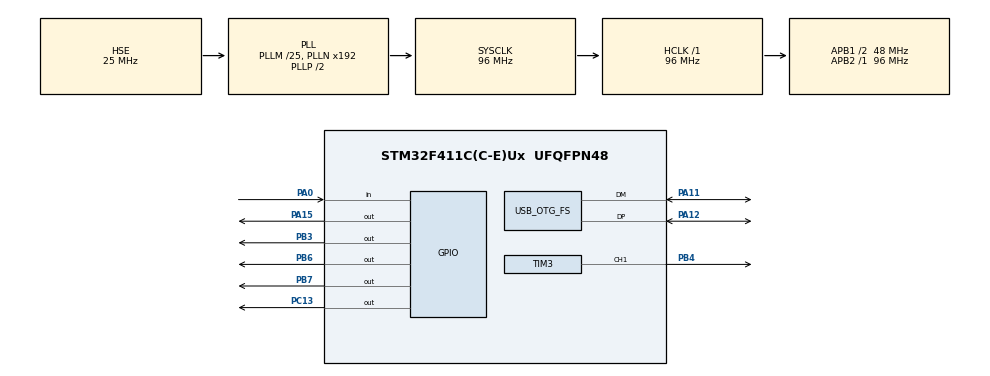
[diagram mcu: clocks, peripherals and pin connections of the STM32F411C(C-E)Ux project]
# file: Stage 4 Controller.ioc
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Mcu.Family=STM32F4
Mcu.Name=STM32F411C(C-E)Ux
Mcu.Package=UFQFPN48
NVIC.OTG_FS_IRQn=true\:0\:0\:false\:false\:true\:false\:true\:true
NVIC.PriorityGroup=NVIC_PRIORITYGROUP_4
NVIC.TIM2_IRQn=true\:0\:0\:false\:false\:true\:true\:true\:true
NVIC.TIM3_IRQn=true\:0\:0\:false\:false\:true\:true\:true\:true
PA0-WKUP.GPIO_PuPd=GPIO_PULLUP
PA0-WKUP.Signal=GPIO_Input
PA11.Mode=Device_Only
PA11.Signal=USB_OTG_FS_DM
PA12.Mode=Device_Only
PA12.Signal=USB_OTG_FS_DP
PA13.Mode=Serial_Wire
PA13.Signal=SYS_JTMS-SWDIO
PA14.Mode=Serial_Wire
PA14.Signal=SYS_JTCK-SWCLK
PA15.Signal=GPIO_Output
PB3.Signal=GPIO_Output
PB4.Signal=S_TIM3_CH1
PB6.Signal=GPIO_Output
PB7.Signal=GPIO_Output
PC13-ANTI_TAMP.Signal=GPIO_Output
PH0\ -\ OSC_IN.Mode=HSE-External-Oscillator
PH0\ -\ OSC_IN.Signal=RCC_OSC_IN
PH1\ -\ OSC_OUT.Mode=HSE-External-Oscillator
PH1\ -\ OSC_OUT.Signal=RCC_OSC_OUT
ProjectManager.HeapSize=0x600
ProjectManager.StackSize=0x400
ProjectManager.TargetToolchain=STM32CubeIDE
RCC.48MHZClocksFreq_Value=48000000
RCC.AHBFreq_Value=96000000
RCC.APB1CLKDivider=RCC_HCLK_DIV2
RCC.APB1Freq_Value=48000000
RCC.APB1TimFreq_Value=96000000
RCC.APB2Freq_Value=96000000
RCC.APB2TimFreq_Value=96000000
RCC.CortexFreq_Value=96000000
RCC.HCLKFreq_Value=96000000
RCC.HSE_VALUE=25000000
RCC.HSI_VALUE=16000000
RCC.LSE_VALUE=32768
RCC.PLLM=25
RCC.SYSCLKFreq_VALUE=96000000
RCC.SYSCLKSource=RCC_SYSCLKSOURCE_PLLCLK
RCC.VCOOutputFreq_Value=192000000
SH.S_TIM3_CH1.0=TIM3_CH1,PWM Generation1 CH1
TIM2.Period=1000-1
TIM2.Prescaler=96-1
TIM3.AutoReloadPreload=TIM_AUTORELOAD_PRELOAD_ENABLE
TIM3.Channel-PWM\ Generation1\ CH1=TIM_CHANNEL_1
TIM3.OC1Preload_PWM=ENABLE
TIM3.Period=10000-1
TIM3.Prescaler=120-1
TIM3.Pulse-PWM\ Generation1\ CH1=5000
USB_DEVICE.CLASS_NAME_FS=CDC
USB_DEVICE.VirtualMode=Cdc
USB_DEVICE.VirtualModeFS=Cdc_FS
USB_OTG_FS.VirtualMode=Device_Only
VP_TIM2_VS_ClockSourceINT.Mode=Internal
VP_TIM3_VS_ClockSourceINT.Mode=Internal
VP_USB_DEVICE_VS_USB_DEVICE_CDC_FS.Mode=CDC_FS
board=custom

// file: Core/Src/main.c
/* USER CODE BEGIN Header */
/**
  ******************************************************************************
  * @file           : main.c
  * @brief          : Main program body
  ******************************************************************************
  * @attention
  *
  * Copyright (c) 2026 STMicroelectronics.
  * All rights reserved.
  *
  * This software is licensed under terms that can be found in the LICENSE file
  * in the root directory of this software component.
  * If no LICENSE file comes with this software, it is provided AS-IS.
  *
  ******************************************************************************
  */
/* USER CODE END Header */
#include "main.h"
#include "usb_device.h"

/* USER CODE BEGIN Includes */
#include "usbd_cdc_if.h"
/* USER CODE END Includes */

TIM_HandleTypeDef htim2;
TIM_HandleTypeDef htim3;

/* USER CODE BEGIN PV */
uint8_t RxBuffer[16];
uint8_t connectionEstablished = 0;
uint8_t messageSent = 0;
uint8_t connectionHandshake[] = {'l','m','a','o'};
uint8_t buttonPress[] = {'b','u','t','t','\n'};
uint8_t buttonUnPress[] = {'a','s','s','\n'};
uint32_t timerValue = 0;
uint8_t gayToggle = 0;
uint8_t homsexualToggle = 0;
uint8_t stepInProgress = 0;
uint16_t speedRegister = 0;
uint16_t stepCounter = 0;
uint16_t stepTarget = 0;
/* USER CODE END PV */

void SystemClock_Config(void);
static void MX_GPIO_Init(void);
static void MX_TIM3_Init(void);
static void MX_TIM2_Init(void);

int main(void)
{

  /* MCU Configuration--------------------------------------------------------*/

  /* Reset of all peripherals, Initializes the Flash interface and the Systick. */
  HAL_Init();

  /* Configure the system clock */
  SystemClock_Config();

  /* Initialize all configured peripherals */
  MX_GPIO_Init();
  MX_USB_DEVICE_Init();
  MX_TIM3_Init();
  MX_TIM2_Init();
  /* USER CODE BEGIN 2 */
  //HAL_TIM_PWM_Start(&htim3,TIM_CHANNEL_1);
  HAL_TIM_Base_Start_IT(&htim2);
  HAL_GPIO_WritePin(GPIOB, GPIO_PIN_7,0);			//enable stepper, lock that boi in place

  /* USER CODE END 2 */

  /* Infinite loop */
  /* USER CODE BEGIN WHILE */
  while (1)
  {
	  //timerValue = __HAL_TIM_GET_COUNTER(&htim2);
	  if ((HAL_GPIO_ReadPin(GPIOA, GPIO_PIN_0) == 0) && connectionEstablished == 1 )
	  {
		  //HAL_GPIO_TogglePin(GPIOC, GPIO_PIN_13);		//toggle LED
		  //CDC_Transmit_FS(&buttonPress, 5);
		  // wait a third of a second, Kevin Visser-Weckworths Perfect time interval
	  }
	  else if ((HAL_GPIO_ReadPin(GPIOA, GPIO_PIN_0) == 1) && connectionEstablished == 1 )
	  {
		 //CDC_Transmit_FS(&buttonUnPress, 4);
		 //HAL_GPIO_WritePin(GPIOC, GPIO_PIN_13, 1);
	  }

//########################################################################################################################

	  if ((RxBuffer[0] == 97) && (RxBuffer[1] == 97) && (RxBuffer[2] == 97))				//aaa
	  {
		  //HAL_GPIO_TogglePin(GPIOC, GPIO_PIN_13);		//toggle LED
		  HAL_GPIO_WritePin(GPIOB, GPIO_PIN_3,1);
		  HAL_GPIO_WritePin(GPIOA, GPIO_PIN_15,0);									//compress sack
	  }

	  if ((RxBuffer[0] == 97) && (RxBuffer[1] == 97) && (RxBuffer[2] == 98))		//aab
	  {
		  //HAL_GPIO_WritePin(GPIOB, GPIO_PIN_6,0);	//Direction change
		  HAL_GPIO_WritePin(GPIOB, GPIO_PIN_3,0);
		  HAL_GPIO_WritePin(GPIOA, GPIO_PIN_15,1);									//expand sack
	  }

	  if ((RxBuffer[0] == 97) && (RxBuffer[1] == 97) && (RxBuffer[2] == 99))		//aac
	  {
		  if (stepInProgress == 0)
		  {
			  stepTarget = 24000;						//3 revoluations at 8000 steps per revolution
			  RxBuffer[0]= 0;
			  RxBuffer[1]= 0;
			  RxBuffer[2]= 0;
			  RxBuffer[3]= 0;
			  RxBuffer[4]= 0;
			  HAL_GPIO_WritePin(GPIOB, GPIO_PIN_6,1);	 //Direction change
			  HAL_TIM_Base_Start_IT(&htim3);
			  HAL_TIM_PWM_Start_IT(&htim3,TIM_CHANNEL_1);
			  stepInProgress = 1;
		  }
	  }

	  if ((RxBuffer[0] == 97) && (RxBuffer[1] == 97) && (RxBuffer[2] == 100))		//aad
	  {
		  if (stepInProgress == 0)
		  {
			  stepTarget = 24000;						//3 revoluations at 8000 steps per revolution
			  RxBuffer[0]= 0;
			  RxBuffer[1]= 0;
			  RxBuffer[2]= 0;
			  RxBuffer[3]= 0;
			  RxBuffer[4]= 0;
			  HAL_GPIO_WritePin(GPIOB, GPIO_PIN_6,0);	 //Direction change
			  HAL_TIM_Base_Start_IT(&htim3);
			  HAL_TIM_PWM_Start_IT(&htim3,TIM_CHANNEL_1);
			  stepInProgress = 1;
		  }
	  }

	  if ((RxBuffer[0] == 97) && (RxBuffer[1] == 97) && (RxBuffer[2] == 101))		//aae
	  {
		  HAL_GPIO_WritePin(GPIOB, GPIO_PIN_6,1);	 //Direction change
	  }

	  if ((RxBuffer[0] == 97) && (RxBuffer[1] == 97) && (RxBuffer[2] == 102))		//aae
	  {
		  HAL_GPIO_WritePin(GPIOB, GPIO_PIN_6,0);	 //Direction change
	  }

//#########################################################################################################################

	  if ((RxBuffer[0] == 97) && (RxBuffer[1] == 121) && (RxBuffer[2] == 121))			//ayy lmao
	  {
		  CDC_Transmit_FS(&connectionHandshake, 5);
		  connectionEstablished = 1;
	  }

	  if (RxBuffer[0] == 98)			//b lmao
	  {
		  speedRegister = ((uint16_t)RxBuffer[1] << 8) | RxBuffer[2];
		  __HAL_TIM_SET_AUTORELOAD(&htim3,speedRegister);
		  __HAL_TIM_SET_COMPARE(&htim3,TIM_CHANNEL_1,speedRegister/2);
	  }

	  if (RxBuffer[0] == 99)			//c lmao
	  {
		  if (stepInProgress == 0)
		  {
			  stepTarget = ((uint16_t)RxBuffer[1] << 8) | RxBuffer[2];
			  RxBuffer[0]= 0;
			  RxBuffer[1]= 0;
			  RxBuffer[2]= 0;
			  RxBuffer[3]= 0;
			  RxBuffer[4]= 0;
			  HAL_TIM_Base_Start_IT(&htim3);
			  HAL_TIM_PWM_Start_IT(&htim3,TIM_CHANNEL_1);
			  stepInProgress = 1;
		  }
	  }

	 /* if ((timerValue >=500000) && (connectionEstablished == 1))
	  {
		  //CDC_Transmit_FS(&timerValue, sizeof(timerValue));
		  HAL_GPIO_WritePin(GPIOC, GPIO_PIN_13, 0);
	  }
	  else if ((timerValue <500000) && (connectionEstablished == 1))
	  {
		  HAL_GPIO_WritePin(GPIOC, GPIO_PIN_13, 1);
	  }*/
    /* USER CODE END WHILE */

  }
}

void SystemClock_Config(void)
{
  RCC_OscInitTypeDef RCC_OscInitStruct = {0};
  RCC_ClkInitTypeDef RCC_ClkInitStruct = {0};

  /** Configure the main internal regulator output voltage
  */
  __HAL_RCC_PWR_CLK_ENABLE();
  __HAL_PWR_VOLTAGESCALING_CONFIG(PWR_REGULATOR_VOLTAGE_SCALE1);

  /** Initializes the RCC Oscillators according to the specified parameters
  * in the RCC_OscInitTypeDef structure.
  */
  RCC_OscInitStruct.OscillatorType = RCC_OSCILLATORTYPE_HSE;
  RCC_OscInitStruct.HSEState = RCC_HSE_ON;
  RCC_OscInitStruct.PLL.PLLState = RCC_PLL_ON;
  RCC_OscInitStruct.PLL.PLLSource = RCC_PLLSOURCE_HSE;
  RCC_OscInitStruct.PLL.PLLM = 25;
  RCC_OscInitStruct.PLL.PLLN = 192;
  RCC_OscInitStruct.PLL.PLLP = RCC_PLLP_DIV2;
  RCC_OscInitStruct.PLL.PLLQ = 4;
  if (HAL_RCC_OscConfig(&RCC_OscInitStruct) != HAL_OK)
  {
    Error_Handler();
  }

  /** Initializes the CPU, AHB and APB buses clocks
  */
  RCC_ClkInitStruct.ClockType = RCC_CLOCKTYPE_HCLK|RCC_CLOCKTYPE_SYSCLK
                              |RCC_CLOCKTYPE_PCLK1|RCC_CLOCKTYPE_PCLK2;
  RCC_ClkInitStruct.SYSCLKSource = RCC_SYSCLKSOURCE_PLLCLK;
  RCC_ClkInitStruct.AHBCLKDivider = RCC_SYSCLK_DIV1;
  RCC_ClkInitStruct.APB1CLKDivider = RCC_HCLK_DIV2;
  RCC_ClkInitStruct.APB2CLKDivider = RCC_HCLK_DIV1;

  if (HAL_RCC_ClockConfig(&RCC_ClkInitStruct, FLASH_LATENCY_3) != HAL_OK)
  {
    Error_Handler();
  }
}

static void MX_TIM2_Init(void)
{

  TIM_ClockConfigTypeDef sClockSourceConfig = {0};
  TIM_MasterConfigTypeDef sMasterConfig = {0};

  htim2.Instance = TIM2;
  htim2.Init.Prescaler = 96-1;
  htim2.Init.CounterMode = TIM_COUNTERMODE_UP;
  htim2.Init.Period = 1000-1;
  htim2.Init.ClockDivision = TIM_CLOCKDIVISION_DIV1;
  htim2.Init.AutoReloadPreload = TIM_AUTORELOAD_PRELOAD_DISABLE;
  if (HAL_TIM_Base_Init(&htim2) != HAL_OK)
  {
    Error_Handler();
  }
  sClockSourceConfig.ClockSource = TIM_CLOCKSOURCE_INTERNAL;
  if (HAL_TIM_ConfigClockSource(&htim2, &sClockSourceConfig) != HAL_OK)
  {
    Error_Handler();
  }
  sMasterConfig.MasterOutputTrigger = TIM_TRGO_RESET;
  sMasterConfig.MasterSlaveMode = TIM_MASTERSLAVEMODE_DISABLE;
  if (HAL_TIMEx_MasterConfigSynchronization(&htim2, &sMasterConfig) != HAL_OK)
  {
    Error_Handler();
  }

}

static void MX_TIM3_Init(void)
{

  TIM_ClockConfigTypeDef sClockSourceConfig = {0};
  TIM_MasterConfigTypeDef sMasterConfig = {0};
  TIM_OC_InitTypeDef sConfigOC = {0};

  htim3.Instance = TIM3;
  htim3.Init.Prescaler = 120-1;
  htim3.Init.CounterMode = TIM_COUNTERMODE_UP;
  htim3.Init.Period = 10000-1;
  htim3.Init.ClockDivision = TIM_CLOCKDIVISION_DIV1;
  htim3.Init.AutoReloadPreload = TIM_AUTORELOAD_PRELOAD_ENABLE;
  if (HAL_TIM_Base_Init(&htim3) != HAL_OK)
  {
    Error_Handler();
  }
  sClockSourceConfig.ClockSource = TIM_CLOCKSOURCE_INTERNAL;
  if (HAL_TIM_ConfigClockSource(&htim3, &sClockSourceConfig) != HAL_OK)
  {
    Error_Handler();
  }
  if (HAL_TIM_PWM_Init(&htim3) != HAL_OK)
  {
    Error_Handler();
  }
  sMasterConfig.MasterOutputTrigger = TIM_TRGO_RESET;
  sMasterConfig.MasterSlaveMode = TIM_MASTERSLAVEMODE_DISABLE;
  if (HAL_TIMEx_MasterConfigSynchronization(&htim3, &sMasterConfig) != HAL_OK)
  {
    Error_Handler();
  }
  sConfigOC.OCMode = TIM_OCMODE_PWM1;
  sConfigOC.Pulse = 5000;
  sConfigOC.OCPolarity = TIM_OCPOLARITY_HIGH;
  sConfigOC.OCFastMode = TIM_OCFAST_DISABLE;
  if (HAL_TIM_PWM_ConfigChannel(&htim3, &sConfigOC, TIM_CHANNEL_1) != HAL_OK)
  {
    Error_Handler();
  }
  HAL_TIM_MspPostInit(&htim3);

}

static void MX_GPIO_Init(void)
{
  GPIO_InitTypeDef GPIO_InitStruct = {0};

  /* GPIO Ports Clock Enable */
  __HAL_RCC_GPIOC_CLK_ENABLE();
  __HAL_RCC_GPIOH_CLK_ENABLE();
  __HAL_RCC_GPIOA_CLK_ENABLE();
  __HAL_RCC_GPIOB_CLK_ENABLE();

  /*Configure GPIO pin Output Level */
  HAL_GPIO_WritePin(GPIOC, GPIO_PIN_13, GPIO_PIN_RESET);

  /*Configure GPIO pin Output Level */
  HAL_GPIO_WritePin(GPIOA, GPIO_PIN_15, GPIO_PIN_RESET);

  /*Configure GPIO pin Output Level */
  HAL_GPIO_WritePin(GPIOB, GPIO_PIN_3|GPIO_PIN_6|GPIO_PIN_7, GPIO_PIN_RESET);

  /*Configure GPIO pin : PC13 */
  GPIO_InitStruct.Pin = GPIO_PIN_13;
  GPIO_InitStruct.Mode = GPIO_MODE_OUTPUT_PP;
  GPIO_InitStruct.Pull = GPIO_NOPULL;
  GPIO_InitStruct.Speed = GPIO_SPEED_FREQ_LOW;
  HAL_GPIO_Init(GPIOC, &GPIO_InitStruct);

  /*Configure GPIO pin : PA0 */
  GPIO_InitStruct.Pin = GPIO_PIN_0;
  GPIO_InitStruct.Mode = GPIO_MODE_INPUT;
  GPIO_InitStruct.Pull = GPIO_PULLUP;
  HAL_GPIO_Init(GPIOA, &GPIO_InitStruct);

  /*Configure GPIO pin : PA15 */
  GPIO_InitStruct.Pin = GPIO_PIN_15;
  GPIO_InitStruct.Mode = GPIO_MODE_OUTPUT_PP;
  GPIO_InitStruct.Pull = GPIO_NOPULL;
  GPIO_InitStruct.Speed = GPIO_SPEED_FREQ_LOW;
  HAL_GPIO_Init(GPIOA, &GPIO_InitStruct);

  /*Configure GPIO pins : PB3 PB6 PB7 */
  GPIO_InitStruct.Pin = GPIO_PIN_3|GPIO_PIN_6|GPIO_PIN_7;
  GPIO_InitStruct.Mode = GPIO_MODE_OUTPUT_PP;
  GPIO_InitStruct.Pull = GPIO_NOPULL;
  GPIO_InitStruct.Speed = GPIO_SPEED_FREQ_LOW;
  HAL_GPIO_Init(GPIOB, &GPIO_InitStruct);

}

/* USER CODE BEGIN 4 */
//##################################################################################################################
void USB_RXCallBack(uint8_t* Buf, uint32_t* Len)
{
	memcpy(RxBuffer, Buf, *Len);
}

void HAL_TIM_PeriodElapsedCallback(TIM_HandleTypeDef *htim)
{

	/*if (htim == &htim2)
	{
		if (gayToggle == 0)
		{
			__HAL_TIM_SET_AUTORELOAD(&htim3, 2000-1);
			gayToggle = 1;
		}
		else
		{
			__HAL_TIM_SET_AUTORELOAD(&htim3, 1000-1);
			gayToggle = 0;
		}
		//HAL_GPIO_TogglePin(GPIOC, GPIO_PIN_13);
		//int currentHal = __HAL_TIM_GET_AUTORELOAD(&htim2) - 50000;
	}*/
	if (htim == &htim3)
	{
		gayToggle = 69;
		if (stepCounter < stepTarget)
		{
			stepCounter++;
		}
		else
		{
			stepCounter = 0;
			HAL_TIM_Base_Stop_IT(&htim3);
			HAL_TIM_PWM_Stop_IT(&htim3, TIM_CHANNEL_1);
			stepInProgress = 0;
		}
	}
}

void HAL_PWM_PulseFinishedCallback(TIM_HandleTypeDef *htim)
{
	gayToggle = 2;
}
//########################################################################################################################
/* USER CODE END 4 */

void Error_Handler(void)
{
  __disable_irq();
  while (1)
  {
  }
}
